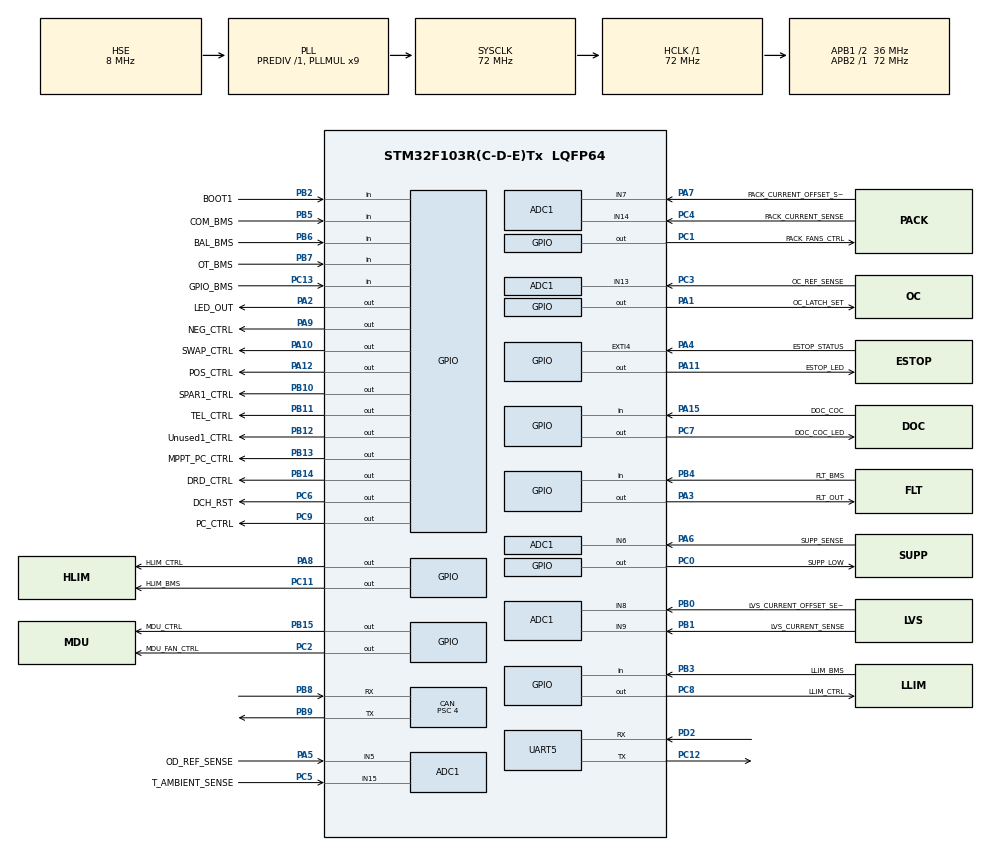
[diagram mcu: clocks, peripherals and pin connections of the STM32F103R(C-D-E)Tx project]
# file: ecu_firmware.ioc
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ADC1.AWD1HighThreshold=2729
ADC1.AWD1ITMode=ENABLE
ADC1.AWD1LowThreshold=2097
ADC1.Channel-0\#ChannelRegularConversion=ADC_CHANNEL_5
ADC1.Channel-1\#ChannelRegularConversion=ADC_CHANNEL_6
ADC1.Channel-2\#ChannelRegularConversion=ADC_CHANNEL_7
ADC1.Channel-3\#ChannelRegularConversion=ADC_CHANNEL_8
ADC1.Channel-4\#ChannelRegularConversion=ADC_CHANNEL_9
ADC1.Channel-5\#ChannelRegularConversion=ADC_CHANNEL_14
ADC1.Channel-6\#ChannelRegularConversion=ADC_CHANNEL_15
ADC1.Channel-7\#ChannelRegularConversion=ADC_CHANNEL_13
ADC1.ContinuousConvMode=DISABLE
ADC1.EnableAnalogWatchDog=true
ADC1.EnableInjectedConversion=DISABLE
ADC1.ExternalTrigConv=ADC_EXTERNALTRIGCONV_T3_TRGO
ADC1.NbrOfConversion=8
ADC1.NbrOfConversionFlag=1
ADC1.Rank-0\#ChannelRegularConversion=1
ADC1.Rank-1\#ChannelRegularConversion=2
ADC1.Rank-2\#ChannelRegularConversion=3
ADC1.Rank-3\#ChannelRegularConversion=4
ADC1.Rank-4\#ChannelRegularConversion=5
ADC1.Rank-5\#ChannelRegularConversion=6
ADC1.Rank-6\#ChannelRegularConversion=7
ADC1.Rank-7\#ChannelRegularConversion=8
ADC1.SamplingTime-0\#ChannelRegularConversion=ADC_SAMPLETIME_1CYCLE_5
ADC1.SamplingTime-1\#ChannelRegularConversion=ADC_SAMPLETIME_1CYCLE_5
ADC1.SamplingTime-2\#ChannelRegularConversion=ADC_SAMPLETIME_1CYCLE_5
ADC1.SamplingTime-3\#ChannelRegularConversion=ADC_SAMPLETIME_1CYCLE_5
ADC1.SamplingTime-4\#ChannelRegularConversion=ADC_SAMPLETIME_1CYCLE_5
ADC1.SamplingTime-5\#ChannelRegularConversion=ADC_SAMPLETIME_1CYCLE_5
ADC1.SamplingTime-6\#ChannelRegularConversion=ADC_SAMPLETIME_1CYCLE_5
ADC1.SamplingTime-7\#ChannelRegularConversion=ADC_SAMPLETIME_1CYCLE_5
ADC1.WatchdogChannel=ADC_CHANNEL_14
ADC1.master=1
CAN.ABOM=ENABLE
CAN.BS1=CAN_BS1_15TQ
CAN.BS2=CAN_BS2_2TQ
CAN.CalculateBaudRate=500000
CAN.CalculateTimeBit=2000
CAN.CalculateTimeQuantum=111.11111111111111
CAN.Mode=CAN_MODE_LOOPBACK
CAN.NART=ENABLE
CAN.Prescaler=4
CAN.TTCM=DISABLE
CAN.TXFP=ENABLE
Dma.ADC1.0.Direction=DMA_PERIPH_TO_MEMORY
Dma.ADC1.0.Instance=DMA1_Channel1
Dma.ADC1.0.MemDataAlignment=DMA_MDATAALIGN_HALFWORD
Dma.ADC1.0.MemInc=DMA_MINC_ENABLE
Dma.ADC1.0.Mode=DMA_CIRCULAR
Dma.ADC1.0.PeriphDataAlignment=DMA_PDATAALIGN_HALFWORD
Dma.ADC1.0.PeriphInc=DMA_PINC_DISABLE
Dma.ADC1.0.Priority=DMA_PRIORITY_LOW
Dma.Request0=ADC1
IWDG.Prescaler=IWDG_PRESCALER_8
IWDG.Reload=750
Mcu.Family=STM32F1
Mcu.Name=STM32F103R(C-D-E)Tx
Mcu.Package=LQFP64
NVIC.ADC1_2_IRQn=true\:0\:0\:false\:false\:true\:true\:true\:true
NVIC.DMA1_Channel1_IRQn=true\:0\:0\:false\:false\:true\:false\:true\:true
NVIC.EXTI4_IRQn=true\:0\:0\:false\:false\:true\:true\:true\:true
NVIC.PriorityGroup=NVIC_PRIORITYGROUP_4
NVIC.TIM2_IRQn=true\:0\:0\:false\:false\:true\:true\:true\:true
NVIC.TIM3_IRQn=true\:0\:0\:false\:false\:true\:true\:true\:true
NVIC.USB_HP_CAN1_TX_IRQn=true\:0\:0\:false\:false\:true\:true\:true\:true
NVIC.USB_LP_CAN1_RX0_IRQn=true\:0\:0\:false\:false\:true\:true\:true\:true
PA1.GPIO_Label=OC_LATCH_SET
PA1.Signal=GPIO_Output
PA10.GPIO_Label=SWAP_CTRL
PA10.Signal=GPIO_Output
PA11.GPIO_Label=ESTOP_LED
PA11.Signal=GPIO_Output
PA12.GPIO_Label=POS_CTRL
PA12.Signal=GPIO_Output
PA13.Mode=Serial_Wire
PA13.Signal=SYS_JTMS-SWDIO
PA14.Mode=Serial_Wire
PA14.Signal=SYS_JTCK-SWCLK
PA15.GPIO_Label=DOC_COC
PA15.Signal=GPIO_Input
PA2.GPIO_Label=LED_OUT
PA2.Signal=GPIO_Output
PA3.GPIO_Label=FLT_OUT
PA3.Signal=GPIO_Output
PA4.GPIO_Label=ESTOP_STATUS
PA4.GPIO_ModeDefaultEXTI=GPIO_MODE_IT_FALLING
PA4.Signal=GPXTI4
PA5.GPIO_Label=OD_REF_SENSE
PA5.Signal=ADCx_IN5
PA6.GPIO_Label=SUPP_SENSE
PA6.Signal=ADCx_IN6
PA7.GPIO_Label=PACK_CURRENT_OFFSET_SENSE
PA7.Signal=ADCx_IN7
PA8.GPIO_Label=HLIM_CTRL
PA8.Signal=GPIO_Output
PA9.GPIO_Label=NEG_CTRL
PA9.Signal=GPIO_Output
PB0.GPIO_Label=LVS_CURRENT_OFFSET_SENSE
PB0.Signal=ADCx_IN8
PB1.GPIO_Label=LVS_CURRENT_SENSE
PB1.Signal=ADCx_IN9
PB10.GPIO_Label=SPAR1_CTRL
PB10.Signal=GPIO_Output
PB11.GPIO_Label=TEL_CTRL
PB11.Signal=GPIO_Output
PB12.GPIO_Label=Unused1_CTRL
PB12.Signal=GPIO_Output
PB13.GPIO_Label=MPPT_PC_CTRL
PB13.Signal=GPIO_Output
PB14.GPIO_Label=DRD_CTRL
PB14.Signal=GPIO_Output
PB15.GPIO_Label=MDU_CTRL
PB15.Signal=GPIO_Output
PB2.GPIO_Label=BOOT1
PB2.Signal=GPIO_Input
PB3.GPIO_Label=LLIM_BMS
PB3.Signal=GPIO_Input
PB4.GPIO_Label=FLT_BMS
PB4.GPIO_PuPd=GPIO_PULLDOWN
PB4.Signal=GPIO_Input
PB5.GPIO_Label=COM_BMS
PB5.Signal=GPIO_Input
PB6.GPIO_Label=BAL_BMS
PB6.Signal=GPIO_Input
PB7.GPIO_Label=OT_BMS
PB7.Signal=GPIO_Input
PB8.Mode=CAN_Activate
PB8.Signal=CAN_RX
PB9.Mode=CAN_Activate
PB9.Signal=CAN_TX
PC0.GPIO_Label=SUPP_LOW
PC0.Signal=GPIO_Output
PC1.GPIO_Label=PACK_FANS_CTRL
PC1.Signal=GPIO_Output
PC11.GPIO_Label=HLIM_BMS
PC11.Signal=GPIO_Output
PC12.Mode=Asynchronous
PC12.Signal=UART5_TX
PC13-TAMPER-RTC.GPIO_Label=GPIO_BMS
PC13-TAMPER-RTC.Signal=GPIO_Input
PC2.GPIO_Label=MDU_FAN_CTRL
PC2.Signal=GPIO_Output
PC3.GPIO_Label=OC_REF_SENSE
PC3.Signal=ADCx_IN13
PC4.GPIO_Label=PACK_CURRENT_SENSE
PC4.Signal=ADCx_IN14
PC5.GPIO_Label=T_AMBIENT_SENSE
PC5.Signal=ADCx_IN15
PC6.GPIO_Label=DCH_RST
PC6.Signal=GPIO_Output
PC7.GPIO_Label=DOC_COC_LED
PC7.Signal=GPIO_Output
PC8.GPIO_Label=LLIM_CTRL
PC8.Signal=GPIO_Output
PC9.GPIO_Label=PC_CTRL
PC9.Signal=GPIO_Output
PD0-OSC_IN.Mode=HSE-External-Oscillator
PD0-OSC_IN.Signal=RCC_OSC_IN
PD1-OSC_OUT.Mode=HSE-External-Oscillator
PD1-OSC_OUT.Signal=RCC_OSC_OUT
PD2.Mode=Asynchronous
PD2.Signal=UART5_RX
ProjectManager.HeapSize=0x200
ProjectManager.StackSize=0x400
ProjectManager.TargetToolchain=STM32CubeIDE
RCC.ADCPresc=RCC_ADCPCLK2_DIV6
RCC.AHBFreq_Value=72000000
RCC.APB1CLKDivider=RCC_HCLK_DIV2
RCC.APB1Freq_Value=36000000
RCC.APB1TimFreq_Value=72000000
RCC.APB2Freq_Value=72000000
RCC.APB2TimFreq_Value=72000000
RCC.HCLKFreq_Value=72000000
RCC.PLLMUL=RCC_PLL_MUL9
RCC.PLLSourceVirtual=RCC_PLLSOURCE_HSE
RCC.SYSCLKFreq_VALUE=72000000
RCC.SYSCLKSource=RCC_SYSCLKSOURCE_PLLCLK
RCC.USBFreq_Value=72000000
SH.ADCx_IN13.0=ADC1_IN13,IN13
SH.ADCx_IN14.0=ADC1_IN14,IN14
SH.ADCx_IN15.0=ADC1_IN15,IN15
SH.ADCx_IN5.0=ADC1_IN5,IN5
SH.ADCx_IN6.0=ADC1_IN6,IN6
SH.ADCx_IN7.0=ADC1_IN7,IN7
SH.ADCx_IN8.0=ADC1_IN8,IN8
SH.ADCx_IN9.0=ADC1_IN9,IN9
TIM2.Period=719
TIM2.Prescaler=999
TIM3.CounterMode=TIM_COUNTERMODE_UP
TIM3.Period=1
TIM3.Prescaler=16000-1
TIM3.TIM_MasterOutputTrigger=TIM_TRGO_UPDATE
UART5.VirtualMode=Asynchronous
VP_IWDG_VS_IWDG.Mode=IWDG_Activate
VP_TIM2_VS_ClockSourceINT.Mode=Internal
VP_TIM3_VS_ClockSourceINT.Mode=Internal
board=custom

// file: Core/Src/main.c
/* USER CODE BEGIN Header */
/**
 ******************************************************************************
 * @file           : main.c
 * @brief          : Main program body
 ******************************************************************************
 * @attention
 *
 * <h2><center>&copy; Copyright (c) 2020 STMicroelectronics.
 * All rights reserved.</center></h2>
 *
 * This software component is licensed by ST under BSD 3-Clause license,
 * the "License"; You may not use this file except in compliance with the
 * License. You may obtain a copy of the License at:
 *                        opensource.org/licenses/BSD-3-Clause
 *
 ******************************************************************************
 */
/* USER CODE END Header */
#include "main.h"

/* USER CODE BEGIN Includes */
#include "fsm.h"
#include "adc.h"
#include "debug_io.h"
#include "common.h"
#include "can.h"
/* USER CODE END Includes */

ADC_HandleTypeDef hadc1;
DMA_HandleTypeDef hdma_adc1;

CAN_HandleTypeDef hcan;

IWDG_HandleTypeDef hiwdg;

TIM_HandleTypeDef htim2;
TIM_HandleTypeDef htim3;

UART_HandleTypeDef huart5;

/* USER CODE BEGIN PV */
volatile uint16_t adc1_buf[ADC1_BUF_LENGTH] = {0};
ECU_Data_t ecu_data = {0};
/* USER CODE END PV */

void SystemClock_Config(void);
static void MX_GPIO_Init(void);
static void MX_DMA_Init(void);
static void MX_ADC1_Init(void);
static void MX_CAN_Init(void);
static void MX_UART5_Init(void);
static void MX_TIM3_Init(void);
static void MX_IWDG_Init(void);
static void MX_TIM2_Init(void);
/* USER CODE BEGIN PFP */

void averageAndSaveValues_ADC1(int adc_half);

/* USER CODE END PFP */

/* USER CODE BEGIN 0 */

/*============================================================================*/
/* AWDG INTERRUPT CALLBACKS */
void HAL_ADC_LevelOutOfWindowCallback(ADC_HandleTypeDef *hadc)
{ // Analog watchdog
  FSM_ADC_LevelOutOfWindowCallback();
}

void HAL_TIM_PeriodElapsedCallback(TIM_HandleTypeDef* htim)
{
    FSM_ADC_WindowedAWDGCallback();
}

/*============================================================================*/
/* GPIO INTERRUPT CALLBACKS */
void HAL_GPIO_EXTI_Callback(uint16_t GPIO_Pin)
{
  if(GPIO_Pin == ESTOP_STATUS_Pin){
    FSM_ESTOPActivedCallback();
  }
}

/* USER CODE END 0 */

int main(void)
{

  /* MCU Configuration--------------------------------------------------------*/

  /* Reset of all peripherals, Initializes the Flash interface and the Systick. */
  HAL_Init();

  /* Configure the system clock */
  SystemClock_Config();

  /* Initialize all configured peripherals */
  MX_GPIO_Init();
  MX_DMA_Init();
  MX_ADC1_Init();
  MX_CAN_Init();
  MX_UART5_Init();
  MX_TIM3_Init();
  MX_IWDG_Init();
  MX_TIM2_Init();
  /* USER CODE BEGIN 2 */

  DebugIO_Init(&huart5);

  HAL_GPIO_WritePin(OC_LATCH_SET_GPIO_Port, OC_LATCH_SET_Pin, HIGH); // Set latch to memory state

  HAL_ADC_Start_DMA(&hadc1, (uint32_t *)adc1_buf, ADC1_BUF_LENGTH);
  HAL_TIM_Base_Start(&htim3);

  FSM_Init();

  // Check if car started with ESTOP started pressed (won't trigger interrupt if so)
  if(HAL_GPIO_ReadPin(ESTOP_STATUS_GPIO_Port, ESTOP_STATUS_Pin) == ESTOP_ACTIVE_FAULT)
  {
      FSM_ESTOPActivedCallback();
  }

  CAN_Init(&hcan);

  HAL_GetTick();
  int last_blink_time = 0;
  int current_time = 0;
  /* USER CODE END 2 */

  /* Infinite loop */
  /* USER CODE BEGIN WHILE */

  while (1)
  {
    FSM_run();

    HAL_IWDG_Refresh (&hiwdg);//Programmed in IOC to have refreshed in 150ms due to possible CAN message delays.
	  	  	  	  	  	  	  	 //if not refreshed, board will be sent to watchdog error handler and board will be reset.

    /* USER CODE END WHILE */

    /* USER CODE BEGIN 3 */

    current_time = HAL_GetTick();

    if (current_time - last_blink_time >= DEBUG_LED_BLINK_INTERVAL)
    {
      HAL_GPIO_TogglePin(LED_OUT_GPIO_Port, LED_OUT_Pin);

      last_blink_time = current_time;
    }
  }

  /* USER CODE END 3 */
}

void SystemClock_Config(void)
{
  RCC_OscInitTypeDef RCC_OscInitStruct = {0};
  RCC_ClkInitTypeDef RCC_ClkInitStruct = {0};
  RCC_PeriphCLKInitTypeDef PeriphClkInit = {0};

  /** Initializes the RCC Oscillators according to the specified parameters
  * in the RCC_OscInitTypeDef structure.
  */
  RCC_OscInitStruct.OscillatorType = RCC_OSCILLATORTYPE_LSI|RCC_OSCILLATORTYPE_HSE;
  RCC_OscInitStruct.HSEState = RCC_HSE_ON;
  RCC_OscInitStruct.HSEPredivValue = RCC_HSE_PREDIV_DIV1;
  RCC_OscInitStruct.HSIState = RCC_HSI_ON;
  RCC_OscInitStruct.LSIState = RCC_LSI_ON;
  RCC_OscInitStruct.PLL.PLLState = RCC_PLL_ON;
  RCC_OscInitStruct.PLL.PLLSource = RCC_PLLSOURCE_HSE;
  RCC_OscInitStruct.PLL.PLLMUL = RCC_PLL_MUL9;
  if (HAL_RCC_OscConfig(&RCC_OscInitStruct) != HAL_OK)
  {
    Error_Handler();
  }

  /** Initializes the CPU, AHB and APB buses clocks
  */
  RCC_ClkInitStruct.ClockType = RCC_CLOCKTYPE_HCLK|RCC_CLOCKTYPE_SYSCLK
                              |RCC_CLOCKTYPE_PCLK1|RCC_CLOCKTYPE_PCLK2;
  RCC_ClkInitStruct.SYSCLKSource = RCC_SYSCLKSOURCE_PLLCLK;
  RCC_ClkInitStruct.AHBCLKDivider = RCC_SYSCLK_DIV1;
  RCC_ClkInitStruct.APB1CLKDivider = RCC_HCLK_DIV2;
  RCC_ClkInitStruct.APB2CLKDivider = RCC_HCLK_DIV1;

  if (HAL_RCC_ClockConfig(&RCC_ClkInitStruct, FLASH_LATENCY_2) != HAL_OK)
  {
    Error_Handler();
  }
  PeriphClkInit.PeriphClockSelection = RCC_PERIPHCLK_ADC;
  PeriphClkInit.AdcClockSelection = RCC_ADCPCLK2_DIV6;
  if (HAL_RCCEx_PeriphCLKConfig(&PeriphClkInit) != HAL_OK)
  {
    Error_Handler();
  }
}

static void MX_ADC1_Init(void)
{

  ADC_AnalogWDGConfTypeDef AnalogWDGConfig = {0};
  ADC_ChannelConfTypeDef sConfig = {0};

  /** Common config
  */
  hadc1.Instance = ADC1;
  hadc1.Init.ScanConvMode = ADC_SCAN_ENABLE;
  hadc1.Init.ContinuousConvMode = DISABLE;
  hadc1.Init.DiscontinuousConvMode = DISABLE;
  hadc1.Init.ExternalTrigConv = ADC_EXTERNALTRIGCONV_T3_TRGO;
  hadc1.Init.DataAlign = ADC_DATAALIGN_RIGHT;
  hadc1.Init.NbrOfConversion = 8;
  if (HAL_ADC_Init(&hadc1) != HAL_OK)
  {
    Error_Handler();
  }

  /** Configure Analog WatchDog 1
  */
  AnalogWDGConfig.WatchdogMode = ADC_ANALOGWATCHDOG_SINGLE_REG;
  AnalogWDGConfig.HighThreshold = 2729;
  AnalogWDGConfig.LowThreshold = 2097;
  AnalogWDGConfig.Channel = ADC_CHANNEL_14;
  AnalogWDGConfig.ITMode = ENABLE;
  if (HAL_ADC_AnalogWDGConfig(&hadc1, &AnalogWDGConfig) != HAL_OK)
  {
    Error_Handler();
  }

  /** Configure Regular Channel
  */
  sConfig.Channel = ADC_CHANNEL_5;
  sConfig.Rank = ADC_REGULAR_RANK_1;
  sConfig.SamplingTime = ADC_SAMPLETIME_1CYCLE_5;
  if (HAL_ADC_ConfigChannel(&hadc1, &sConfig) != HAL_OK)
  {
    Error_Handler();
  }

  /** Configure Regular Channel
  */
  sConfig.Channel = ADC_CHANNEL_6;
  sConfig.Rank = ADC_REGULAR_RANK_2;
  if (HAL_ADC_ConfigChannel(&hadc1, &sConfig) != HAL_OK)
  {
    Error_Handler();
  }

  /** Configure Regular Channel
  */
  sConfig.Channel = ADC_CHANNEL_7;
  sConfig.Rank = ADC_REGULAR_RANK_3;
  if (HAL_ADC_ConfigChannel(&hadc1, &sConfig) != HAL_OK)
  {
    Error_Handler();
  }

  /** Configure Regular Channel
  */
  sConfig.Channel = ADC_CHANNEL_8;
  sConfig.Rank = ADC_REGULAR_RANK_4;
  if (HAL_ADC_ConfigChannel(&hadc1, &sConfig) != HAL_OK)
  {
    Error_Handler();
  }

  /** Configure Regular Channel
  */
  sConfig.Channel = ADC_CHANNEL_9;
  sConfig.Rank = ADC_REGULAR_RANK_5;
  if (HAL_ADC_ConfigChannel(&hadc1, &sConfig) != HAL_OK)
  {
    Error_Handler();
  }

  /** Configure Regular Channel
  */
  sConfig.Channel = ADC_CHANNEL_14;
  sConfig.Rank = ADC_REGULAR_RANK_6;
  if (HAL_ADC_ConfigChannel(&hadc1, &sConfig) != HAL_OK)
  {
    Error_Handler();
  }

  /** Configure Regular Channel
  */
  sConfig.Channel = ADC_CHANNEL_15;
  sConfig.Rank = ADC_REGULAR_RANK_7;
  if (HAL_ADC_ConfigChannel(&hadc1, &sConfig) != HAL_OK)
  {
    Error_Handler();
  }

  /** Configure Regular Channel
  */
  sConfig.Channel = ADC_CHANNEL_13;
  sConfig.Rank = ADC_REGULAR_RANK_8;
  if (HAL_ADC_ConfigChannel(&hadc1, &sConfig) != HAL_OK)
  {
    Error_Handler();
  }
  /* USER CODE BEGIN ADC1_Init 2 */

  if (HAL_ADCEx_Calibration_Start(&hadc1) != HAL_OK){
    Error_Handler();
  }

  /* USER CODE END ADC1_Init 2 */

}

static void MX_CAN_Init(void)
{

  hcan.Instance = CAN1;
  hcan.Init.Prescaler = 4;
  hcan.Init.Mode = CAN_MODE_LOOPBACK;
  hcan.Init.SyncJumpWidth = CAN_SJW_1TQ;
  hcan.Init.TimeSeg1 = CAN_BS1_15TQ;
  hcan.Init.TimeSeg2 = CAN_BS2_2TQ;
  hcan.Init.TimeTriggeredMode = DISABLE;
  hcan.Init.AutoBusOff = ENABLE;
  hcan.Init.AutoWakeUp = DISABLE;
  hcan.Init.AutoRetransmission = ENABLE;
  hcan.Init.ReceiveFifoLocked = DISABLE;
  hcan.Init.TransmitFifoPriority = ENABLE;
  if (HAL_CAN_Init(&hcan) != HAL_OK)
  {
    Error_Handler();
  }

}

static void MX_IWDG_Init(void)
{

  hiwdg.Instance = IWDG;
  hiwdg.Init.Prescaler = IWDG_PRESCALER_8;
  hiwdg.Init.Reload = 750;
  if (HAL_IWDG_Init(&hiwdg) != HAL_OK)
  {
    Error_Handler();
  }

}

static void MX_TIM2_Init(void)
{

  TIM_ClockConfigTypeDef sClockSourceConfig = {0};
  TIM_MasterConfigTypeDef sMasterConfig = {0};

  htim2.Instance = TIM2;
  htim2.Init.Prescaler = 999;
  htim2.Init.CounterMode = TIM_COUNTERMODE_UP;
  htim2.Init.Period = 719;
  htim2.Init.ClockDivision = TIM_CLOCKDIVISION_DIV1;
  htim2.Init.AutoReloadPreload = TIM_AUTORELOAD_PRELOAD_DISABLE;
  if (HAL_TIM_Base_Init(&htim2) != HAL_OK)
  {
    Error_Handler();
  }
  sClockSourceConfig.ClockSource = TIM_CLOCKSOURCE_INTERNAL;
  if (HAL_TIM_ConfigClockSource(&htim2, &sClockSourceConfig) != HAL_OK)
  {
    Error_Handler();
  }
  sMasterConfig.MasterOutputTrigger = TIM_TRGO_RESET;
  sMasterConfig.MasterSlaveMode = TIM_MASTERSLAVEMODE_DISABLE;
  if (HAL_TIMEx_MasterConfigSynchronization(&htim2, &sMasterConfig) != HAL_OK)
  {
    Error_Handler();
  }
  /* USER CODE BEGIN TIM2_Init 2 */

  HAL_TIM_Base_Start_IT(&htim2); // Enable interrupts for windowed AWDG timer

  /* USER CODE END TIM2_Init 2 */

}

static void MX_TIM3_Init(void)
{

  TIM_ClockConfigTypeDef sClockSourceConfig = {0};
  TIM_MasterConfigTypeDef sMasterConfig = {0};

  htim3.Instance = TIM3;
  htim3.Init.Prescaler = 16000-1;
  htim3.Init.CounterMode = TIM_COUNTERMODE_UP;
  htim3.Init.Period = 1;
  htim3.Init.ClockDivision = TIM_CLOCKDIVISION_DIV1;
  htim3.Init.AutoReloadPreload = TIM_AUTORELOAD_PRELOAD_DISABLE;
  if (HAL_TIM_Base_Init(&htim3) != HAL_OK)
  {
    Error_Handler();
  }
  sClockSourceConfig.ClockSource = TIM_CLOCKSOURCE_INTERNAL;
  if (HAL_TIM_ConfigClockSource(&htim3, &sClockSourceConfig) != HAL_OK)
  {
    Error_Handler();
  }
  sMasterConfig.MasterOutputTrigger = TIM_TRGO_UPDATE;
  sMasterConfig.MasterSlaveMode = TIM_MASTERSLAVEMODE_DISABLE;
  if (HAL_TIMEx_MasterConfigSynchronization(&htim3, &sMasterConfig) != HAL_OK)
  {
    Error_Handler();
  }

}

static void MX_UART5_Init(void)
{

  huart5.Instance = UART5;
  huart5.Init.BaudRate = 115200;
  huart5.Init.WordLength = UART_WORDLENGTH_8B;
  huart5.Init.StopBits = UART_STOPBITS_1;
  huart5.Init.Parity = UART_PARITY_NONE;
  huart5.Init.Mode = UART_MODE_TX_RX;
  huart5.Init.HwFlowCtl = UART_HWCONTROL_NONE;
  huart5.Init.OverSampling = UART_OVERSAMPLING_16;
  if (HAL_UART_Init(&huart5) != HAL_OK)
  {
    Error_Handler();
  }

}

static void MX_DMA_Init(void)
{

  /* DMA controller clock enable */
  __HAL_RCC_DMA1_CLK_ENABLE();

  /* DMA interrupt init */
  /* DMA1_Channel1_IRQn interrupt configuration */
  HAL_NVIC_SetPriority(DMA1_Channel1_IRQn, 0, 0);
  HAL_NVIC_EnableIRQ(DMA1_Channel1_IRQn);

}

static void MX_GPIO_Init(void)
{
  GPIO_InitTypeDef GPIO_InitStruct = {0};

  /* GPIO Ports Clock Enable */
  __HAL_RCC_GPIOC_CLK_ENABLE();
  __HAL_RCC_GPIOD_CLK_ENABLE();
  __HAL_RCC_GPIOA_CLK_ENABLE();
  __HAL_RCC_GPIOB_CLK_ENABLE();

  /*Configure GPIO pin Output Level */
  HAL_GPIO_WritePin(GPIOC, SUPP_LOW_Pin|PACK_FANS_CTRL_Pin|MDU_FAN_CTRL_Pin|DCH_RST_Pin
                          |DOC_COC_LED_Pin|LLIM_CTRL_Pin|PC_CTRL_Pin|HLIM_BMS_Pin, GPIO_PIN_RESET);

  /*Configure GPIO pin Output Level */
  HAL_GPIO_WritePin(GPIOA, OC_LATCH_SET_Pin|LED_OUT_Pin|FLT_OUT_Pin|HLIM_CTRL_Pin
                          |NEG_CTRL_Pin|SWAP_CTRL_Pin|ESTOP_LED_Pin|POS_CTRL_Pin, GPIO_PIN_RESET);

  /*Configure GPIO pin Output Level */
  HAL_GPIO_WritePin(GPIOB, SPAR1_CTRL_Pin|TEL_CTRL_Pin|Unused1_CTRL_Pin|MPPT_PC_CTRL_Pin
                          |DRD_CTRL_Pin|MDU_CTRL_Pin, GPIO_PIN_RESET);

  /*Configure GPIO pin : GPIO_BMS_Pin */
  GPIO_InitStruct.Pin = GPIO_BMS_Pin;
  GPIO_InitStruct.Mode = GPIO_MODE_INPUT;
  GPIO_InitStruct.Pull = GPIO_NOPULL;
  HAL_GPIO_Init(GPIO_BMS_GPIO_Port, &GPIO_InitStruct);

  /*Configure GPIO pins : SUPP_LOW_Pin PACK_FANS_CTRL_Pin MDU_FAN_CTRL_Pin DCH_RST_Pin
                           DOC_COC_LED_Pin LLIM_CTRL_Pin PC_CTRL_Pin HLIM_BMS_Pin */
  GPIO_InitStruct.Pin = SUPP_LOW_Pin|PACK_FANS_CTRL_Pin|MDU_FAN_CTRL_Pin|DCH_RST_Pin
                          |DOC_COC_LED_Pin|LLIM_CTRL_Pin|PC_CTRL_Pin|HLIM_BMS_Pin;
  GPIO_InitStruct.Mode = GPIO_MODE_OUTPUT_PP;
  GPIO_InitStruct.Pull = GPIO_NOPULL;
  GPIO_InitStruct.Speed = GPIO_SPEED_FREQ_LOW;
  HAL_GPIO_Init(GPIOC, &GPIO_InitStruct);

  /*Configure GPIO pins : OC_LATCH_SET_Pin LED_OUT_Pin FLT_OUT_Pin HLIM_CTRL_Pin
                           NEG_CTRL_Pin SWAP_CTRL_Pin ESTOP_LED_Pin POS_CTRL_Pin */
  GPIO_InitStruct.Pin = OC_LATCH_SET_Pin|LED_OUT_Pin|FLT_OUT_Pin|HLIM_CTRL_Pin
                          |NEG_CTRL_Pin|SWAP_CTRL_Pin|ESTOP_LED_Pin|POS_CTRL_Pin;
  GPIO_InitStruct.Mode = GPIO_MODE_OUTPUT_PP;
  GPIO_InitStruct.Pull = GPIO_NOPULL;
  GPIO_InitStruct.Speed = GPIO_SPEED_FREQ_LOW;
  HAL_GPIO_Init(GPIOA, &GPIO_InitStruct);

  /*Configure GPIO pin : ESTOP_STATUS_Pin */
  GPIO_InitStruct.Pin = ESTOP_STATUS_Pin;
  GPIO_InitStruct.Mode = GPIO_MODE_IT_FALLING;
  GPIO_InitStruct.Pull = GPIO_NOPULL;
  HAL_GPIO_Init(ESTOP_STATUS_GPIO_Port, &GPIO_InitStruct);

  /*Configure GPIO pins : BOOT1_Pin LLIM_BMS_Pin COM_BMS_Pin BAL_BMS_Pin
                           OT_BMS_Pin */
  GPIO_InitStruct.Pin = BOOT1_Pin|LLIM_BMS_Pin|COM_BMS_Pin|BAL_BMS_Pin
                          |OT_BMS_Pin;
  GPIO_InitStruct.Mode = GPIO_MODE_INPUT;
  GPIO_InitStruct.Pull = GPIO_NOPULL;
  HAL_GPIO_Init(GPIOB, &GPIO_InitStruct);

  /*Configure GPIO pins : SPAR1_CTRL_Pin TEL_CTRL_Pin Unused1_CTRL_Pin MPPT_PC_CTRL_Pin
                           DRD_CTRL_Pin MDU_CTRL_Pin */
  GPIO_InitStruct.Pin = SPAR1_CTRL_Pin|TEL_CTRL_Pin|Unused1_CTRL_Pin|MPPT_PC_CTRL_Pin
                          |DRD_CTRL_Pin|MDU_CTRL_Pin;
  GPIO_InitStruct.Mode = GPIO_MODE_OUTPUT_PP;
  GPIO_InitStruct.Pull = GPIO_NOPULL;
  GPIO_InitStruct.Speed = GPIO_SPEED_FREQ_LOW;
  HAL_GPIO_Init(GPIOB, &GPIO_InitStruct);

  /*Configure GPIO pin : DOC_COC_Pin */
  GPIO_InitStruct.Pin = DOC_COC_Pin;
  GPIO_InitStruct.Mode = GPIO_MODE_INPUT;
  GPIO_InitStruct.Pull = GPIO_NOPULL;
  HAL_GPIO_Init(DOC_COC_GPIO_Port, &GPIO_InitStruct);

  /*Configure GPIO pin : FLT_BMS_Pin */
  GPIO_InitStruct.Pin = FLT_BMS_Pin;
  GPIO_InitStruct.Mode = GPIO_MODE_INPUT;
  GPIO_InitStruct.Pull = GPIO_PULLDOWN;
  HAL_GPIO_Init(FLT_BMS_GPIO_Port, &GPIO_InitStruct);

  /* EXTI interrupt init*/
  HAL_NVIC_SetPriority(EXTI4_IRQn, 0, 0);
  HAL_NVIC_EnableIRQ(EXTI4_IRQn);

}

/* USER CODE BEGIN 4 */

void HAL_ADC_ConvHalfCpltCallback(ADC_HandleTypeDef *hadc)
{
  if (hadc == &hadc1)
    averageAndSaveValues_ADC1(0);
}

// Conversion full complete DMA interrupt callback for ADCs
void HAL_ADC_ConvCpltCallback(ADC_HandleTypeDef *hadc)
{
  if (hadc == &hadc1)
    averageAndSaveValues_ADC1(1);
}

void averageAndSaveValues_ADC1(int adc_half)
{
  if (!ADC1_getBusyStatus())
  {
    ADC1_setBusyStatus(1);
    static float result[ADC1_NUM_ANALOG_CHANNELS];

    ADC1_processRawReadings(adc_half, adc1_buf, result);

    // For conversion order, see rank in CubeMX
    ADC_setReading(result[0], OD_REF_SENSE__ADC1_IN5);
    ADC_setReading(result[1], SUPP_SENSE__ADC1_IN6);
    ADC_setReading(result[2], PACK_CURRENT_OFFSET_SENSE__ADC1_IN7);
    ADC_setReading(result[3], LVS_CURRENT_OFFSET_SENSE__ADC1_IN8);
    ADC_setReading(result[4], LVS_CURRENT_SENSE__ADC1_IN9);
    ADC_setReading(result[5], PACK_CURRENT_SENSE__ADC1_IN14);
    ADC_setReading(result[6], T_AMBIENT_SENSE__ADC1_IN15);
    ADC_setReading(result[7], OC_REF_SENSE__ADC1_IN13);
    ADC_setReading(result[8], MPPT_PC__ADC1_IN10); //Added by Chris D as part of MPPT PC voltage reading branch
    ADC_setReading(result[9], MC_PC__ADC1_IN11);   //Added by Chris D as part of MPPT PC voltage reading branch

    ADC1_setBusyStatus(0);
  }
  else
  {
    ADC1_setFaultStatus(1);
  }
}

/* USER CODE END 4 */

void Error_Handler(void)
{
  __disable_irq();
  while (1)
  {
  }
}
